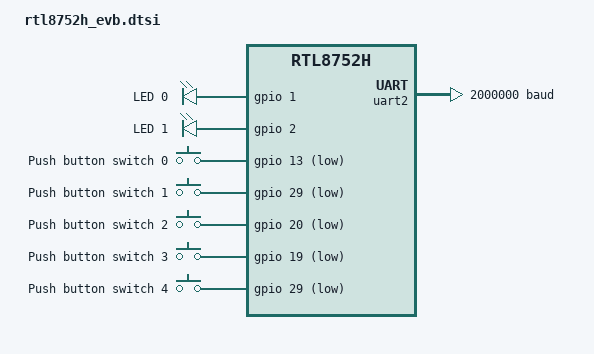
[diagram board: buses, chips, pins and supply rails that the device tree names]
/*
 * Copyright (c) 2026 Realtek Semiconductor Corp.
 *
 * SPDX-License-Identifier: Apache-2.0
 */

#include "rtl8752h_evb-pinctrl.dtsi"
#include <zephyr/dt-bindings/gpio/realtek-bee-gpio.h>
#include <zephyr/dt-bindings/input/input-event-codes.h>

/ {
	chosen {
		zephyr,code-partition = &app_partition;
		zephyr,console = &uart2;
		zephyr,shell-uart = &uart2;
	};

	leds {
		compatible = "gpio-leds";

		led0: led_0 {
			gpios = <&gpio 1 GPIO_ACTIVE_HIGH>;
			label = "LED 0";
		};

		led1: led_1 {
			gpios = <&gpio 2 GPIO_ACTIVE_HIGH>;
			label = "LED 1";
		};
	};

	buttons {
		compatible = "gpio-keys";

		button0: button_0 {
			label = "Push button switch 0";
			gpios = <&gpio 13 GPIO_ACTIVE_LOW>;
			zephyr,code = <INPUT_KEY_0>;
		};

		button1: button_1 {
			label = "Push button switch 1";
			gpios = <&gpio 29 GPIO_ACTIVE_LOW>;
			zephyr,code = <INPUT_KEY_1>;
		};

		button2: button_2 {
			label = "Push button switch 2";
			gpios = <&gpio 20 GPIO_ACTIVE_LOW>;
			zephyr,code = <INPUT_KEY_2>;
		};

		button3: button_3 {
			label = "Push button switch 3";
			gpios = <&gpio 19 GPIO_ACTIVE_LOW>;
			zephyr,code = <INPUT_KEY_3>;
		};

		button4: button_4 {
			label = "Push button switch 4";
			gpios = <&gpio 29 GPIO_ACTIVE_LOW>;
			zephyr,code = <INPUT_KEY_4>;
		};
	};

	aliases {
		led0 = &led0;
		led1 = &led1;
		sw0 = &button0;
	};
};

&gpio {
	pinctrl-0 = <&gpio_default>;
	pinctrl-names = "default";
	status = "okay";
};

&uart2 {
	pinctrl-0 = <&uart2_default>;
	pinctrl-names = "default";
	status = "okay";
	current-speed = <2000000>;
	parity = "none";
	stop-bits = "1";
	data-bits = <8>;
};

&pinctrl {
	gpio_default: gpio_default {
		group1 {
					/* gpio 1 */
			psels = <BEE_PSEL_GPIO_1_P0_1>,
					/* gpio 2 */
					<BEE_PSEL_GPIO_2_P0_2>,
					/* gpio 13 */
					<BEE_PSEL_GPIO_13_P4_0>,
					/* gpio 29 */
					<BEE_PSEL_GPIO_29_P4_1>,
					/* gpio 20 */
					<BEE_PSEL_GPIO_20_P2_4>,
					/* gpio 19 */
					<BEE_PSEL_GPIO_19_P2_3>;
		};
	};
};
